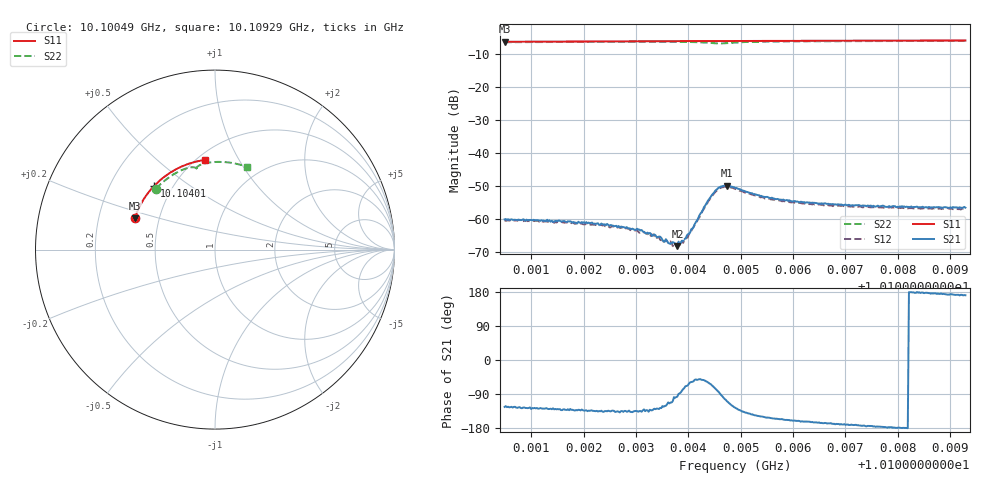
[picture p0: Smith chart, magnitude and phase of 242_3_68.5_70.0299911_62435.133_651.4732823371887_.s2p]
#  HZ  S  RI  R  50.00
! Rohde & Schwarz Vector Network Analyzer
! Rohde-Schwarz,ZNB20-2Port,1311601062101988,3.16
! Created: UTC 3/20/2024, 4:59:24 PM
! freq[Hz]  re:S11  im:S11  re:S21  im:S21  re:S12  im:S12  re:S22  im:S22
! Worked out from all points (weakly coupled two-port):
!   401 points, 10.10049 GHz to 10.10929 GHz, reference 50 ohm
!   highest |S21| = -49.91 dB at 10.10474 GHz (marker M1); lowest = -68.1 dB at 10.10379 GHz (marker M2)
!   lowest |S11| = -6.4 dB at 10.10049 GHz (marker M3), VSWR 2.85, Z = 18.1 + j8.2 ohm
!   |S11| at or under -10 dB: nowhere
!   |S22| runs from -6.9 to -6.1 dB; largest |S21 - S12| = 0.00032
!   S11 on the Smith chart (normalised r, x): 10.10049 GHz: 0.36, +0.16; 10.10401 GHz: 0.40, +0.37; 10.10929 GHz: 0.55, +0.73
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1.0100488e10  -0.4475 0.1742  -0.000551 -0.000824  -0.00047 -0.00084  -0.329 0.3394
1.0101963e10  -0.4116 0.2563  -0.000589 -0.000683  -0.000496 -0.000685  -0.257 0.402
1.0102777e10  -0.3854 0.2985  -0.000525 -0.000535  -0.000459 -0.000529  -0.2114 0.4301
1.0103063e10  -0.3752 0.3125  -0.00049 -0.000491  -0.000401 -0.000471  -0.1943 0.4387
1.0103305e10  -0.3662 0.3242  -0.000378 -0.000408  -0.000357 -0.000447  -0.1793 0.4454
1.0103437e10  -0.3612 0.3303  -0.000345 -0.00042  -0.000294 -0.000448  -0.1707 0.4489
1.0103635e10  -0.3533 0.3395  -0.000177 -0.000389  -0.000155 -0.000424  -0.1574 0.4533
1.0103723e10  -0.3499 0.3435  -6.26e-05 -0.000436  -5.46e-05 -0.000413  -0.1513 0.4551
1.0103789e10  -0.3471 0.3464  -4.36e-05 -0.00039  3.82e-06 -0.000425  -0.1466 0.4563
1.0103855e10  -0.3444 0.3494  3.55e-05 -0.000436  6.66e-05 -0.000415  -0.1417 0.4573
1.0103943e10  -0.3406 0.3534  0.00018 -0.000472  0.000199 -0.000434  -0.135 0.4584
1.0104009e10  -0.3379 0.3563  0.000281 -0.000534  0.000301 -0.000514  -0.13 0.4588
1.0104119e10  -0.3332 0.3609  0.000509 -0.000662  0.000539 -0.000609  -0.1212 0.459
1.0104339e10  -0.3237 0.3703  0.000935 -0.00142  0.00104 -0.00128  -0.1043 0.4537
1.0104472e10  -0.3178 0.3758  0.000846 -0.00228  0.000997 -0.00212  -0.0988 0.4464
1.0104604e10  -0.312 0.381  6.54e-05 -0.00304  0.00032 -0.00293  -0.1015 0.4416
1.0104736e10  -0.306 0.3864  -0.00102 -0.00303  -0.000704 -0.00299  -0.1055 0.4459
1.010489e10  -0.299 0.3924  -0.00174 -0.00242  -0.00144 -0.00247  -0.1027 0.4565
1.0105484e10  -0.2706 0.4145  -0.00191 -0.00102  -0.00169 -0.00113  -0.0639 0.4785
1.0106364e10  -0.2254 0.4429  -0.0017 -0.000504  -0.00155 -0.000593  -0.00466 0.4877
1.0107839e10  -0.144 0.479  -0.00157 -6.9e-05  -0.00147 -0.000204  0.0906 0.4835
1.0109291e10  -0.0585 0.4991  -0.00147 0.000236  -0.00142 6.85e-05  0.1807 0.4607
